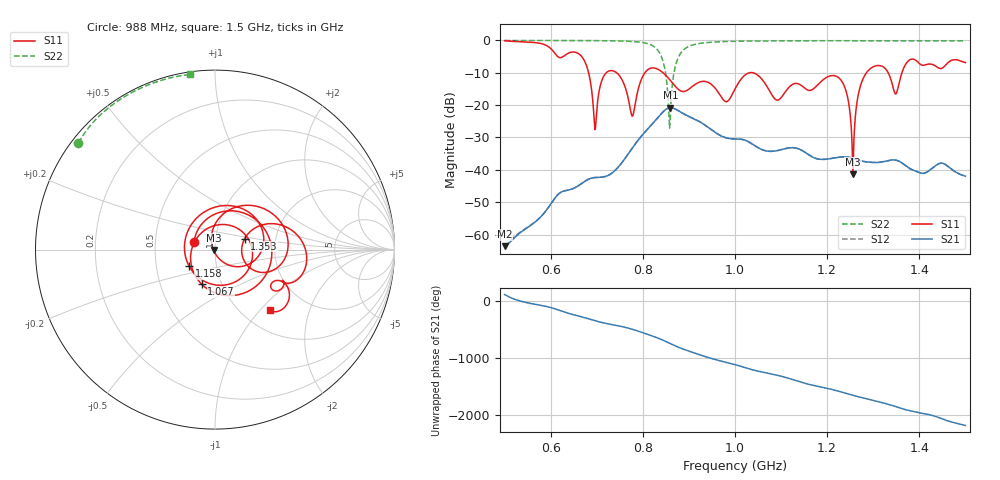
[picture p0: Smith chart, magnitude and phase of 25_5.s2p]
! TOUCHSTONE file generated by CST MICROWAVE STUDIO
! Date and time: Mon Nov 30 08:11:14 2020
! Project name: Scenario_1_Planar_Body_Tissue_Out_of_Line.cst
! Parameters = {dy1=69.2; L_HA=400; Ltissue=700; MT=2.54; Rad_Dielectric=30; Rad_Lower=7.3; Rad_Upper=30; Wtissue=700; a_HA=580; a_WG=246; b_HA=500; b_WG=121; c_HA=0; c_WG=187; d_feed=85; dx1=866; h_feed=15; h_lower=18; h_upper=40; hfat=3; hgap=25; hmuscle=50; hskin=1.5}
! Header version: 2018
! Port assignment regex: !\s*Touchstone port\s*([0-9]+)\s*=\s*(CST MWS port|CST DS port)\s*([0-9]+|Zmin|Zmax)\s*\(\"(.*)\"\)(\s*mode\s*([0-9]+))?.*
! Touchstone port assignment:
! Touchstone port 1 = CST MWS port 1 ("")
! Touchstone port 2 = CST MWS port 2 ("")
# GHz S DB R 50
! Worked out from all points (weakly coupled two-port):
!   1003 points, 500 MHz to 1.5 GHz, reference 50 ohm
!   highest |S21| = -20.81 dB at 860 MHz (marker M1); lowest = -63.6 dB at 500 MHz (marker M2)
!   lowest |S11| = -41.3 dB at 1.256 GHz (marker M3), VSWR 1.02, Z = 49.2 - j0.21 ohm
!   |S11| at or under -10 dB: 743.2 MHz to 804.4 MHz (61.24 MHz wide, 7.91 % of centre); 843.8 MHz to 1.031 GHz (187.3 MHz wide, 20 % of centre); 1.039 GHz to 1.285 GHz (245.8 MHz wide, 21.1 % of centre) (the widest 3 of 5)
!   |S22| runs from -27.1 to 0.0 dB; largest |S21 - S12| = 3.1e-05
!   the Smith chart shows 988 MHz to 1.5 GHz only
!   S11 on the Smith chart (normalised r, x): 988 MHz: 0.79, +0.06; 1.067 GHz: 0.80, -0.32; 1.158 GHz: 0.74, -0.14; 1.353 GHz: 1.38, +0.17; 1.5 GHz: 1.34, -1.13
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0.5  -0.10 -122.1  -63.59 105.6  -63.59 105.6  -0.01 151.2
0.583  -1.11 -168.0  -53.81 -91.3  -53.81 -91.2  -0.02 145.4
0.667  -4.92 122.4  -44.24 75.0  -44.24 75.0  -0.04 138.4
0.697  -27.24 -61.4  -42.37 3.2  -42.37 3.2  -0.06 135.2
0.723  -9.71 169.6  -41.83 -44.9  -41.83 -44.9  -0.10 131.9
0.777  -23.41 -32.3  -33.29 -143.4  -33.29 -143.4  -0.32 121.3
0.807  -9.54 158.2  -27.93 137.0  -27.93 137.0  -0.86 109.1
0.834  -9.00 71.7  -23.60 58.0  -23.60 58.0  -3.32 84.0
0.86  -12.40 -14.4  -20.81 -37.4  -20.81 -37.4  -22.10 -107.3
0.887  -15.79 -132.3  -22.55 -129.4  -22.55 -129.4  -3.10 179.8
0.988  -18.18 161.1  -30.33 -17.6  -30.33 -17.6  -0.31 142.0
1  -15.01 103.9  -30.46 -43.1  -30.45 -43.1  -0.27 140.3
1.067  -13.70 -111.0  -34.12 172.8  -34.12 172.8  -0.15 132.8
1.158  -15.35 -148.2  -35.15 -24.6  -35.15 -24.6  -0.10 124.9
1.167  -15.25 167.9  -35.95 -41.8  -35.95 -41.8  -0.10 124.2
1.229  -12.09 -6.8  -36.04 -158.7  -36.04 -158.7  -0.09 119.5
1.256  -41.35 -165.6  -36.42 138.7  -36.42 138.7  -0.08 117.4
1.282  -10.71 57.4  -37.48 84.8  -37.48 84.8  -0.08 115.5
1.334  -10.44 -25.1  -37.10 -22.2  -37.10 -22.2  -0.08 111.5
1.353  -15.07 20.3  -37.16 -71.3  -37.16 -71.3  -0.09 110.1
1.381  -5.88 -1.9  -39.74 -134.3  -39.74 -134.3  -0.09 107.9
1.5  -6.84 -47.4  -41.98 -30.1  -41.98 -30.1  -0.13 98.0
